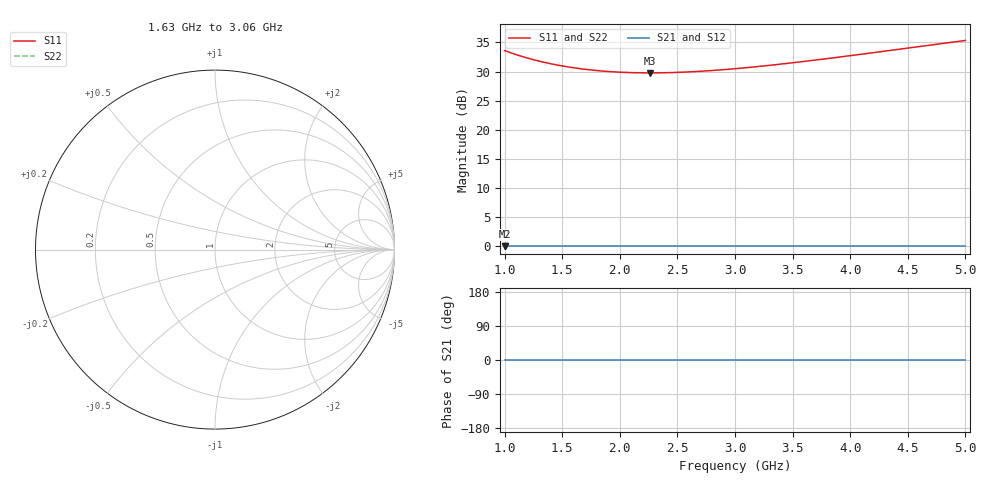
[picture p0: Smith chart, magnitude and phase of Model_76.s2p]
# GHZ S RI R 50
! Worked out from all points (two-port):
!   401 points, 1 GHz to 5 GHz, reference 50 ohm
!   highest |S21| = 0.00 dB at 1 GHz (marker M1); lowest = 0.0 dB at 1 GHz (marker M2)
!   |S21| within 3 dB of the highest: start of sweep to end of sweep
!   lowest |S11| = 29.8 dB at 2.26 GHz (marker M3)
!   |S11| at or under -10 dB: nowhere
!   |S22| runs from 29.8 to 35.3 dB; largest |S21 - S12| = 0
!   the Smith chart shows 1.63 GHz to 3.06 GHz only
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1  47.88 0  1 0  1 0  47.88 0
1.15  42.64 0  1 0  1 0  42.64 0
1.22  40.72 0  1 0  1 0  40.72 0
1.3  38.85 0  1 0  1 0  38.85 0
1.38  37.26 0  1 0  1 0  37.26 0
1.47  35.76 0  1 0  1 0  35.76 0
1.57  34.4 0  1 0  1 0  34.4 0
1.67  33.32 0  1 0  1 0  33.32 0
1.81  32.18 0  1 0  1 0  32.18 0
1.95  31.42 0  1 0  1 0  31.42 0
2.1  30.95 0  1 0  1 0  30.95 0
2.26  30.79 0  1 0  1 0  30.79 0
2.34  30.82 0  1 0  1 0  30.82 0
2.5  31.1 0  1 0  1 0  31.1 0
2.66  31.62 0  1 0  1 0  31.62 0
3  33.43 0  1 0  1 0  33.43 0
3.33  36 0  1 0  1 0  36 0
3.67  39.37 0  1 0  1 0  39.37 0
4  43.27 0  1 0  1 0  43.27 0
4.34  47.89 0  1 0  1 0  47.89 0
4.63  52.28 0  1 0  1 0  52.28 0
5  58.48 0  1 0  1 0  58.48 0
